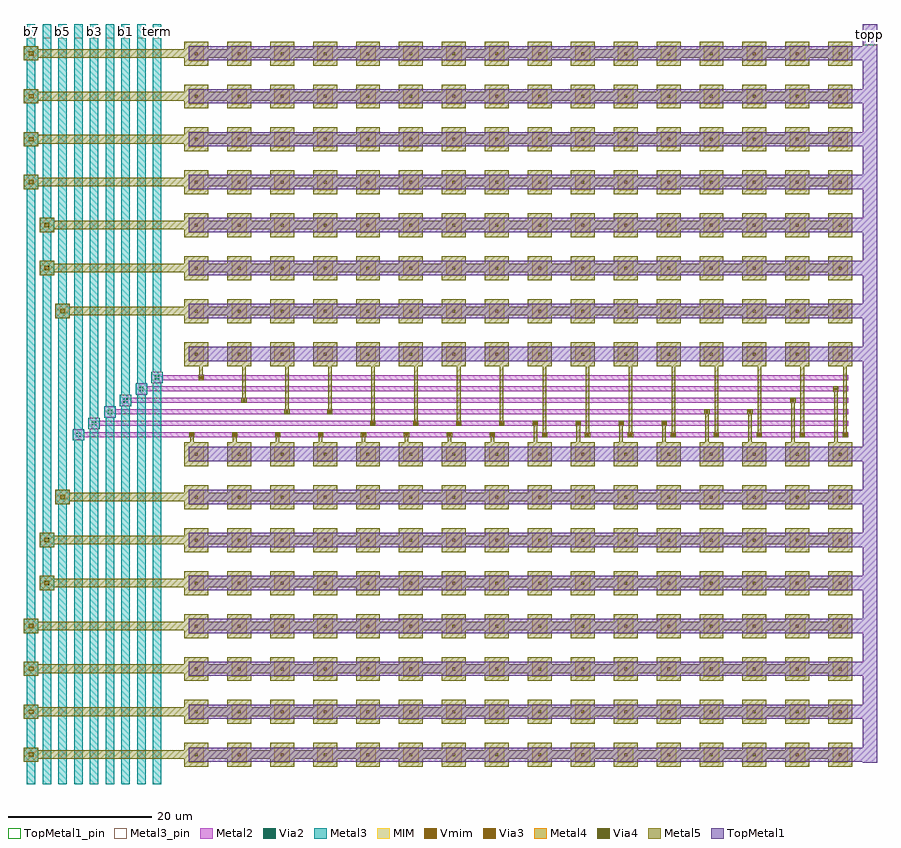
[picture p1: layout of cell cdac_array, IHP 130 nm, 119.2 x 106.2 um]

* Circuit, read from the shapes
.subckt cdac_array b0 b1 b2 b3 b4 b5 b6 b7 term topp
XC1 topp b7 cap_cmim w=2.14u l=2.14u m=128
XC2 topp b6 cap_cmim w=2.14u l=2.14u m=64
XC3 topp b5 cap_cmim w=2.14u l=2.14u m=32
XC4 topp b4 cap_cmim w=2.14u l=2.14u m=16
XC5 topp term cap_cmim w=2.14u l=2.14u
XC6 topp b1 cap_cmim w=2.14u l=2.14u m=2
XC7 topp b2 cap_cmim w=2.14u l=2.14u m=4
XC8 topp b3 cap_cmim w=2.14u l=2.14u m=8
XC9 topp b0 cap_cmim w=2.14u l=2.14u
.ends

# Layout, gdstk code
import gdstk
lib = gdstk.Library(unit=1e-6, precision=1e-09)
def R(c, l, rs):  # rectangles x0, y0, x1, y1
    for r in rs: c.add(gdstk.rectangle(r[:2], r[2:], *l))
def A(c, l, x, y, w, h, nx, ny, dx, dy):  # array of equal rectangles
    R(c, l, [(x+i*dx, y+j*dy, x+i*dx+w, y+j*dy+h) for i in range(nx) for j in range(ny)])
Metal2 = (10, 0)
Via2 = (29, 0)
Metal3 = (30, 0)
Metal3_pin = (30, 2)
MIM = (36, 0)
Via3 = (49, 0)
Metal4 = (50, 0)
Via4 = (66, 0)
Metal5 = (67, 0)
TopMetal1 = (126, 0)
TopMetal1_pin = (126, 2)
Vmim = (129, 0)

cmim = lib.new_cell('cmim')
R(cmim, MIM, [(0,0,2.14,2.14)])
R(cmim, Metal5, [(-0.6,-0.6,2.74,2.74)])
R(cmim, TopMetal1, [(0.44,0.44,1.7,1.7)])
R(cmim, Vmim, [(0.86,0.86,1.28,1.28)])
cmim.add(gdstk.Label('c=7.28f', (1.07,1.07), layer=63, texttype=0))
cmim.add(gdstk.Label('cmim', (1.07,1.07), layer=63, texttype=0))

via_stack_1 = lib.new_cell('via_stack$1')
R(via_stack_1, Metal2, [(-0.145,-0.1,0.145,0.1)])
R(via_stack_1, Via2, [(-0.095,-0.095,0.095,0.095)])
R(via_stack_1, Metal3, [(-0.2,-0.2,0.2,0.2), (-0.145,-0.1,0.145,0.1)])
R(via_stack_1, Via3, [(-0.095,-0.095,0.095,0.095)])
R(via_stack_1, Metal4, [(-0.2,-0.2,0.2,0.2), (-0.145,-0.1,0.145,0.1)])
R(via_stack_1, Via4, [(-0.095,-0.095,0.095,0.095)])
R(via_stack_1, Metal5, [(-0.145,-0.1,0.145,0.1)])

via_stack = lib.new_cell('via_stack')
R(via_stack, Metal3, [(-0.35,-0.305,0.35,0.305)])
R(via_stack, Via3, [(-0.3,-0.3,-0.11,-0.11), (0.11,-0.3,0.3,-0.11), (-0.3,0.11,-0.11,0.3), (0.11,0.11,0.3,0.3)])
R(via_stack, Metal4, [(-0.35,-0.305,0.35,0.305)])
R(via_stack, Via4, [(-0.3,-0.3,-0.11,-0.11), (0.11,-0.3,0.3,-0.11), (-0.3,0.11,-0.11,0.3), (0.11,0.11,0.3,0.3)])
R(via_stack, Metal5, [(-0.35,-0.305,0.35,0.305)])

via_stack_2 = lib.new_cell('via_stack$2')
R(via_stack_2, Metal2, [(-0.35,-0.305,0.35,0.305)])
R(via_stack_2, Via2, [(-0.3,-0.3,-0.11,-0.11), (0.11,-0.3,0.3,-0.11), (-0.3,0.11,-0.11,0.3), (0.11,0.11,0.3,0.3)])
R(via_stack_2, Metal3, [(-0.35,-0.305,0.35,0.305)])

cdac_array = lib.new_cell('cdac_array')
A(cdac_array, Metal2, 0.09, 45.44, 0.72, 0.72, 8, 1, 6, 0)
A(cdac_array, Metal2, 49.39, 45.44, 0.72, 0.72, 8, 1, 6, 0)
A(cdac_array, Metal2, 25.39, 47.04, 0.72, 0.72, 4, 1, 6, 0)
A(cdac_array, Metal2, 48.09, 47.04, 0.72, 0.72, 4, 1, 6, 0)
R(cdac_array, Metal2, [(-16.2,45,-14.6,46.6), (-16,45.45,92.2,46.15), (-14,46.6,-12.4,48.2), (-13.8,47.05,92.2,47.75), (-11.8,48.2,-10.2,49.8), (13.39,48.64,14.11,49.36), (19.39,48.64,20.11,49.36), (72.09,48.64,72.81,49.36), (78.09,48.64,78.81,49.36), (-11.6,48.65,92.2,49.35), (-9.6,49.8,-8,51.4), (7.39,50.24,8.11,50.96), (84.09,50.24,84.81,50.96), (-9.4,50.25,92.2,50.95), (-7.4,51.4,-5.8,53), (90.09,51.84,90.81,52.56), (-7.2,51.85,92.2,52.55), (-5.2,53,-3.6,54.6), (1.39,53.44,2.11,54.16), (-5,53.45,92.2,54.15)])
A(cdac_array, Metal3, -22.6, -3, 1.2, 106.2, 9, 1, 2.2, 0)
A(cdac_array, Metal3, -23, 0.1, 2, 2, 1, 4, 0, 6)
A(cdac_array, Metal3, -23, 80.1, 2, 2, 1, 4, 0, 6)
R(cdac_array, Metal3, [(-20.8,24.1,-18.8,26.1), (-20.8,30.1,-18.8,32.1), (-18.6,36.1,-16.6,38.1), (-16.2,45,-14.6,46.6), (-14,46.6,-12.4,48.2), (-11.8,48.2,-10.2,49.8), (-9.6,49.8,-8,51.4), (-7.4,51.4,-5.8,53), (-5.2,53,-3.6,54.6), (-18.6,62.1,-16.6,64.1), (-20.8,68.1,-18.8,70.1), (-20.8,74.1,-18.8,76.1)])
A(cdac_array, Metal3_pin, -22.6, 101.2, 1.2, 2, 9, 1, 2.2, 0)
A(cdac_array, Metal5, -23, 0.1, 2, 2, 1, 4, 0, 6)
A(cdac_array, Metal5, -22.6, 0.5, 114.8, 1.2, 1, 4, 0, 6)
A(cdac_array, Metal5, 0.2, 44.2, 0.5, 1.9, 8, 1, 6, 0)
A(cdac_array, Metal5, 48.2, 44.2, 0.5, 3.5, 4, 1, 6, 0)
A(cdac_array, Metal5, 0.09, 45.44, 0.72, 0.72, 8, 1, 6, 0)
A(cdac_array, Metal5, 49.39, 45.44, 0.72, 0.72, 8, 1, 6, 0)
A(cdac_array, Metal5, 49.5, 45.5, 0.5, 10.5, 8, 1, 6, 0)
A(cdac_array, Metal5, 25.39, 47.04, 0.72, 0.72, 4, 1, 6, 0)
A(cdac_array, Metal5, 48.09, 47.04, 0.72, 0.72, 4, 1, 6, 0)
A(cdac_array, Metal5, 25.5, 47.1, 0.5, 8.9, 4, 1, 6, 0)
A(cdac_array, Metal5, -23, 80.1, 2, 2, 1, 4, 0, 6)
A(cdac_array, Metal5, -22.6, 80.5, 114.8, 1.2, 1, 4, 0, 6)
R(cdac_array, Metal5, [(-20.8,24.1,-18.8,26.1), (-20.4,24.5,92.2,25.7), (-20.8,30.1,-18.8,32.1), (-20.4,30.5,92.2,31.7), (-18.6,36.1,-16.6,38.1), (-18.2,36.5,92.2,37.7), (72.2,44.2,72.7,49.3), (78.2,44.2,78.7,49.3), (84.2,44.2,84.7,50.9), (90.2,44.2,90.7,52.5), (13.39,48.64,14.11,49.36), (19.39,48.64,20.11,49.36), (72.09,48.64,72.81,49.36), (78.09,48.64,78.81,49.36), (13.5,48.7,14,56), (19.5,48.7,20,56), (7.39,50.24,8.11,50.96), (84.09,50.24,84.81,50.96), (7.5,50.3,8,56), (90.09,51.84,90.81,52.56), (1.39,53.44,2.11,54.16), (1.5,53.5,2,56), (-18.6,62.1,-16.6,64.1), (-18.2,62.5,92.2,63.7), (-20.8,68.1,-18.8,70.1), (-20.4,68.5,92.2,69.7), (-20.8,74.1,-18.8,76.1), (-20.4,74.5,92.2,75.7)])
A(cdac_array, TopMetal1, 0, 0.1, 96.2, 2, 1, 8, 0, 6)
A(cdac_array, TopMetal1, 0, 56.1, 96.2, 2, 1, 8, 0, 6)
R(cdac_array, TopMetal1, [(94.2,0,96.2,103.2)])
R(cdac_array, TopMetal1_pin, [(94.2,100.2,96.2,103.2)])
cdac_array.add(gdstk.Reference(cmim, (36,56)))
cdac_array.add(gdstk.Reference(cmim, (42,56)))
cdac_array.add(gdstk.Reference(cmim, (48,56)))
cdac_array.add(gdstk.Reference(cmim, (54,56)))
cdac_array.add(gdstk.Reference(cmim, (60,56)))
cdac_array.add(gdstk.Reference(cmim, (66,56)))
cdac_array.add(gdstk.Reference(cmim, (72,56)))
cdac_array.add(gdstk.Reference(cmim, (78,56)))
cdac_array.add(gdstk.Reference(cmim, (84,56)))
cdac_array.add(gdstk.Reference(cmim, (90,56)))
cdac_array.add(gdstk.Reference(cmim, (36,62)))
cdac_array.add(gdstk.Reference(cmim, (42,62)))
cdac_array.add(gdstk.Reference(cmim, (48,62)))
cdac_array.add(gdstk.Reference(cmim, (54,62)))
cdac_array.add(gdstk.Reference(cmim, (60,62)))
cdac_array.add(gdstk.Reference(cmim, (66,62)))
cdac_array.add(gdstk.Reference(cmim, (72,62)))
cdac_array.add(gdstk.Reference(cmim, (78,62)))
cdac_array.add(gdstk.Reference(cmim, (84,62)))
cdac_array.add(gdstk.Reference(cmim, (90,62)))
cdac_array.add(gdstk.Reference(cmim, (36,68)))
cdac_array.add(gdstk.Reference(cmim, (42,68)))
cdac_array.add(gdstk.Reference(cmim, (48,68)))
cdac_array.add(gdstk.Reference(cmim, (54,68)))
cdac_array.add(gdstk.Reference(cmim, (60,68)))
cdac_array.add(gdstk.Reference(cmim, (66,68)))
cdac_array.add(gdstk.Reference(cmim, (72,68)))
cdac_array.add(gdstk.Reference(cmim, (78,68)))
cdac_array.add(gdstk.Reference(cmim, (84,68)))
cdac_array.add(gdstk.Reference(cmim, (90,68)))
cdac_array.add(gdstk.Reference(cmim, (36,74)))
cdac_array.add(gdstk.Reference(cmim, (42,74)))
cdac_array.add(gdstk.Reference(cmim, (48,74)))
cdac_array.add(gdstk.Reference(cmim, (54,74)))
cdac_array.add(gdstk.Reference(cmim, (60,74)))
cdac_array.add(gdstk.Reference(cmim, (66,74)))
cdac_array.add(gdstk.Reference(cmim, (72,74)))
cdac_array.add(gdstk.Reference(cmim, (78,74)))
cdac_array.add(gdstk.Reference(cmim, (84,74)))
cdac_array.add(gdstk.Reference(cmim, (90,74)))
cdac_array.add(gdstk.Reference(cmim, (36,80)))
cdac_array.add(gdstk.Reference(cmim, (42,80)))
cdac_array.add(gdstk.Reference(cmim, (48,80)))
cdac_array.add(gdstk.Reference(cmim, (54,80)))
cdac_array.add(gdstk.Reference(cmim, (60,80)))
cdac_array.add(gdstk.Reference(cmim, (66,80)))
cdac_array.add(gdstk.Reference(cmim, (72,80)))
cdac_array.add(gdstk.Reference(cmim, (78,80)))
cdac_array.add(gdstk.Reference(cmim, (84,80)))
cdac_array.add(gdstk.Reference(cmim, (90,80)))
cdac_array.add(gdstk.Reference(cmim, (36,86)))
cdac_array.add(gdstk.Reference(cmim, (42,86)))
cdac_array.add(gdstk.Reference(cmim, (48,86)))
cdac_array.add(gdstk.Reference(cmim, (54,86)))
cdac_array.add(gdstk.Reference(cmim, (60,86)))
cdac_array.add(gdstk.Reference(cmim, (66,86)))
cdac_array.add(gdstk.Reference(cmim, (72,86)))
cdac_array.add(gdstk.Reference(cmim, (78,86)))
cdac_array.add(gdstk.Reference(cmim, (84,86)))
cdac_array.add(gdstk.Reference(cmim, (90,86)))
cdac_array.add(gdstk.Reference(cmim, (36,92)))
cdac_array.add(gdstk.Reference(cmim, (42,92)))
cdac_array.add(gdstk.Reference(cmim, (48,92)))
cdac_array.add(gdstk.Reference(cmim, (54,92)))
cdac_array.add(gdstk.Reference(cmim, (60,92)))
cdac_array.add(gdstk.Reference(cmim, (66,92)))
cdac_array.add(gdstk.Reference(cmim, (72,92)))
cdac_array.add(gdstk.Reference(cmim, (78,92)))
cdac_array.add(gdstk.Reference(cmim, (84,92)))
cdac_array.add(gdstk.Reference(cmim, (90,92)))
cdac_array.add(gdstk.Reference(cmim, (36,98)))
cdac_array.add(gdstk.Reference(cmim, (42,98)))
cdac_array.add(gdstk.Reference(cmim, (48,98)))
cdac_array.add(gdstk.Reference(cmim, (54,98)))
cdac_array.add(gdstk.Reference(cmim, (60,98)))
cdac_array.add(gdstk.Reference(cmim, (66,98)))
cdac_array.add(gdstk.Reference(cmim, (72,98)))
cdac_array.add(gdstk.Reference(cmim, (78,98)))
cdac_array.add(gdstk.Reference(cmim, (84,98)))
cdac_array.add(gdstk.Reference(cmim, (90,98)))
cdac_array.add(gdstk.Reference(via_stack_1, (84.45,50.6)))
cdac_array.add(gdstk.Reference(via_stack_1, (90.45,52.2)))
cdac_array.add(gdstk.Reference(cmim, (12,86)))
cdac_array.add(gdstk.Reference(cmim, (18,86)))
cdac_array.add(gdstk.Reference(cmim, (24,86)))
cdac_array.add(gdstk.Reference(cmim, (30,86)))
cdac_array.add(gdstk.Reference(cmim, (12,74)))
cdac_array.add(gdstk.Reference(cmim, (18,74)))
cdac_array.add(gdstk.Reference(cmim, (24,74)))
cdac_array.add(gdstk.Reference(cmim, (30,74)))
cdac_array.add(gdstk.Reference(cmim, (12,62)))
cdac_array.add(gdstk.Reference(cmim, (18,62)))
cdac_array.add(gdstk.Reference(cmim, (0,68)))
cdac_array.add(gdstk.Reference(cmim, (6,68)))
cdac_array.add(gdstk.Reference(cmim, (12,68)))
cdac_array.add(gdstk.Reference(cmim, (18,68)))
cdac_array.add(gdstk.Reference(cmim, (0,92)))
cdac_array.add(gdstk.Reference(cmim, (6,92)))
cdac_array.add(gdstk.Reference(cmim, (12,92)))
cdac_array.add(gdstk.Reference(cmim, (18,92)))
cdac_array.add(gdstk.Reference(cmim, (24,92)))
cdac_array.add(gdstk.Reference(cmim, (30,92)))
cdac_array.add(gdstk.Reference(cmim, (24,68)))
cdac_array.add(gdstk.Reference(cmim, (30,68)))
cdac_array.add(gdstk.Reference(cmim, (24,62)))
cdac_array.add(gdstk.Reference(cmim, (30,62)))
cdac_array.add(gdstk.Reference(cmim, (0,80)))
cdac_array.add(gdstk.Reference(cmim, (6,80)))
cdac_array.add(gdstk.Reference(cmim, (12,80)))
cdac_array.add(gdstk.Reference(cmim, (18,80)))
cdac_array.add(gdstk.Reference(cmim, (24,80)))
cdac_array.add(gdstk.Reference(cmim, (30,80)))
cdac_array.add(gdstk.Reference(cmim, (0,98)))
cdac_array.add(gdstk.Reference(cmim, (6,98)))
cdac_array.add(gdstk.Reference(cmim, (12,98)))
cdac_array.add(gdstk.Reference(cmim, (18,98)))
cdac_array.add(gdstk.Reference(cmim, (24,98)))
cdac_array.add(gdstk.Reference(cmim, (30,98)))
cdac_array.add(gdstk.Reference(cmim, (24,56)))
cdac_array.add(gdstk.Reference(cmim, (30,56)))
cdac_array.add(gdstk.Reference(cmim, (0,56)))
cdac_array.add(gdstk.Reference(cmim, (6,56)))
cdac_array.add(gdstk.Reference(cmim, (12,56)))
cdac_array.add(gdstk.Reference(cmim, (18,56)))
cdac_array.add(gdstk.Reference(cmim, (0,62)))
cdac_array.add(gdstk.Reference(cmim, (6,62)))
cdac_array.add(gdstk.Reference(cmim, (0,74)))
cdac_array.add(gdstk.Reference(cmim, (6,74)))
cdac_array.add(gdstk.Reference(via_stack, (-17.6,63.1)))
cdac_array.add(gdstk.Reference(via_stack, (-19.8,69.1)))
cdac_array.add(gdstk.Reference(via_stack, (-19.8,75.1)))
cdac_array.add(gdstk.Reference(via_stack, (-22,81.1)))
cdac_array.add(gdstk.Reference(via_stack, (-22,87.1)))
cdac_array.add(gdstk.Reference(via_stack, (-22,93.1)))
cdac_array.add(gdstk.Reference(via_stack, (-22,99.1)))
cdac_array.add(gdstk.Reference(cmim, (0,86)))
cdac_array.add(gdstk.Reference(cmim, (6,86)))
cdac_array.add(gdstk.Reference(via_stack_1, (1.75,53.8)))
cdac_array.add(gdstk.Reference(via_stack_1, (7.75,50.6)))
cdac_array.add(gdstk.Reference(via_stack_2, (-8.8,50.6)))
cdac_array.add(gdstk.Reference(via_stack_2, (-6.6,52.2)))
cdac_array.add(gdstk.Reference(via_stack_2, (-4.4,53.8)))
cdac_array.add(gdstk.Reference(cmim, (24,42)))
cdac_array.add(gdstk.Reference(cmim, (30,42)))
cdac_array.add(gdstk.Reference(cmim, (0,0)))
cdac_array.add(gdstk.Reference(cmim, (6,0)))
cdac_array.add(gdstk.Reference(cmim, (12,0)))
cdac_array.add(gdstk.Reference(cmim, (18,0)))
cdac_array.add(gdstk.Reference(cmim, (24,0)))
cdac_array.add(gdstk.Reference(cmim, (30,0)))
cdac_array.add(gdstk.Reference(cmim, (0,6)))
cdac_array.add(gdstk.Reference(cmim, (6,6)))
cdac_array.add(gdstk.Reference(cmim, (12,6)))
cdac_array.add(gdstk.Reference(cmim, (18,6)))
cdac_array.add(gdstk.Reference(cmim, (24,6)))
cdac_array.add(gdstk.Reference(cmim, (30,6)))
cdac_array.add(gdstk.Reference(cmim, (0,12)))
cdac_array.add(gdstk.Reference(cmim, (6,12)))
cdac_array.add(gdstk.Reference(cmim, (12,12)))
cdac_array.add(gdstk.Reference(cmim, (18,12)))
cdac_array.add(gdstk.Reference(cmim, (24,12)))
cdac_array.add(gdstk.Reference(cmim, (30,12)))
cdac_array.add(gdstk.Reference(cmim, (0,18)))
cdac_array.add(gdstk.Reference(cmim, (6,18)))
cdac_array.add(gdstk.Reference(cmim, (12,18)))
cdac_array.add(gdstk.Reference(cmim, (18,18)))
cdac_array.add(gdstk.Reference(cmim, (24,18)))
cdac_array.add(gdstk.Reference(cmim, (30,18)))
cdac_array.add(gdstk.Reference(cmim, (0,24)))
cdac_array.add(gdstk.Reference(cmim, (6,24)))
cdac_array.add(gdstk.Reference(cmim, (12,24)))
cdac_array.add(gdstk.Reference(cmim, (18,24)))
cdac_array.add(gdstk.Reference(cmim, (24,24)))
cdac_array.add(gdstk.Reference(cmim, (30,24)))
cdac_array.add(gdstk.Reference(cmim, (0,30)))
cdac_array.add(gdstk.Reference(cmim, (6,30)))
cdac_array.add(gdstk.Reference(via_stack, (-22,1.1)))
cdac_array.add(gdstk.Reference(via_stack, (-22,7.1)))
cdac_array.add(gdstk.Reference(via_stack, (-22,13.1)))
cdac_array.add(gdstk.Reference(via_stack, (-22,19.1)))
cdac_array.add(gdstk.Reference(via_stack, (-19.8,25.1)))
cdac_array.add(gdstk.Reference(via_stack, (-19.8,31.1)))
cdac_array.add(gdstk.Reference(via_stack, (-17.6,37.1)))
cdac_array.add(gdstk.Reference(cmim, (12,30)))
cdac_array.add(gdstk.Reference(cmim, (18,30)))
cdac_array.add(gdstk.Reference(cmim, (24,30)))
cdac_array.add(gdstk.Reference(cmim, (30,30)))
cdac_array.add(gdstk.Reference(cmim, (0,36)))
cdac_array.add(gdstk.Reference(cmim, (6,36)))
cdac_array.add(gdstk.Reference(cmim, (12,36)))
cdac_array.add(gdstk.Reference(via_stack_1, (0.45,45.8)))
cdac_array.add(gdstk.Reference(via_stack_1, (6.45,45.8)))
cdac_array.add(gdstk.Reference(via_stack_1, (12.45,45.8)))
cdac_array.add(gdstk.Reference(via_stack_1, (18.45,45.8)))
cdac_array.add(gdstk.Reference(via_stack_1, (24.45,45.8)))
cdac_array.add(gdstk.Reference(via_stack_1, (30.45,45.8)))
cdac_array.add(gdstk.Reference(cmim, (18,36)))
cdac_array.add(gdstk.Reference(cmim, (24,36)))
cdac_array.add(gdstk.Reference(cmim, (30,36)))
cdac_array.add(gdstk.Reference(cmim, (0,42)))
cdac_array.add(gdstk.Reference(via_stack_1, (13.75,49)))
cdac_array.add(gdstk.Reference(via_stack_1, (19.75,49)))
cdac_array.add(gdstk.Reference(via_stack_1, (25.75,47.4)))
cdac_array.add(gdstk.Reference(via_stack_1, (31.75,47.4)))
cdac_array.add(gdstk.Reference(via_stack_2, (-15.4,45.8)))
cdac_array.add(gdstk.Reference(via_stack_2, (-13.2,47.4)))
cdac_array.add(gdstk.Reference(via_stack_2, (-11,49)))
cdac_array.add(gdstk.Reference(cmim, (6,42)))
cdac_array.add(gdstk.Reference(cmim, (12,42)))
cdac_array.add(gdstk.Reference(cmim, (18,42)))
cdac_array.add(gdstk.Reference(cmim, (60,0)))
cdac_array.add(gdstk.Reference(cmim, (66,0)))
cdac_array.add(gdstk.Reference(cmim, (36,6)))
cdac_array.add(gdstk.Reference(cmim, (42,6)))
cdac_array.add(gdstk.Reference(cmim, (36,18)))
cdac_array.add(gdstk.Reference(cmim, (42,18)))
cdac_array.add(gdstk.Reference(cmim, (48,18)))
cdac_array.add(gdstk.Reference(cmim, (54,18)))
cdac_array.add(gdstk.Reference(cmim, (60,18)))
cdac_array.add(gdstk.Reference(cmim, (66,18)))
cdac_array.add(gdstk.Reference(cmim, (72,18)))
cdac_array.add(gdstk.Reference(cmim, (78,18)))
cdac_array.add(gdstk.Reference(cmim, (84,18)))
cdac_array.add(gdstk.Reference(cmim, (90,18)))
cdac_array.add(gdstk.Reference(cmim, (48,6)))
cdac_array.add(gdstk.Reference(cmim, (54,6)))
cdac_array.add(gdstk.Reference(cmim, (60,6)))
cdac_array.add(gdstk.Reference(cmim, (66,6)))
cdac_array.add(gdstk.Reference(cmim, (72,6)))
cdac_array.add(gdstk.Reference(cmim, (78,6)))
cdac_array.add(gdstk.Reference(cmim, (36,24)))
cdac_array.add(gdstk.Reference(cmim, (42,24)))
cdac_array.add(gdstk.Reference(cmim, (48,24)))
cdac_array.add(gdstk.Reference(cmim, (54,24)))
cdac_array.add(gdstk.Reference(cmim, (60,24)))
cdac_array.add(gdstk.Reference(cmim, (66,24)))
cdac_array.add(gdstk.Reference(cmim, (72,24)))
cdac_array.add(gdstk.Reference(cmim, (78,24)))
cdac_array.add(gdstk.Reference(cmim, (84,24)))
cdac_array.add(gdstk.Reference(cmim, (90,24)))
cdac_array.add(gdstk.Reference(cmim, (84,6)))
cdac_array.add(gdstk.Reference(cmim, (90,6)))
cdac_array.add(gdstk.Reference(cmim, (72,0)))
cdac_array.add(gdstk.Reference(cmim, (78,0)))
cdac_array.add(gdstk.Reference(cmim, (84,0)))
cdac_array.add(gdstk.Reference(cmim, (90,0)))
cdac_array.add(gdstk.Reference(cmim, (36,30)))
cdac_array.add(gdstk.Reference(cmim, (42,30)))
cdac_array.add(gdstk.Reference(cmim, (48,30)))
cdac_array.add(gdstk.Reference(cmim, (54,30)))
cdac_array.add(gdstk.Reference(cmim, (60,30)))
cdac_array.add(gdstk.Reference(cmim, (66,30)))
cdac_array.add(gdstk.Reference(cmim, (72,30)))
cdac_array.add(gdstk.Reference(cmim, (78,30)))
cdac_array.add(gdstk.Reference(cmim, (84,30)))
cdac_array.add(gdstk.Reference(cmim, (90,30)))
cdac_array.add(gdstk.Reference(cmim, (36,0)))
cdac_array.add(gdstk.Reference(cmim, (42,0)))
cdac_array.add(gdstk.Reference(cmim, (36,12)))
cdac_array.add(gdstk.Reference(cmim, (42,12)))
cdac_array.add(gdstk.Reference(cmim, (48,12)))
cdac_array.add(gdstk.Reference(cmim, (54,12)))
cdac_array.add(gdstk.Reference(cmim, (36,36)))
cdac_array.add(gdstk.Reference(cmim, (42,36)))
cdac_array.add(gdstk.Reference(cmim, (48,36)))
cdac_array.add(gdstk.Reference(cmim, (54,36)))
cdac_array.add(gdstk.Reference(cmim, (60,36)))
cdac_array.add(gdstk.Reference(cmim, (66,36)))
cdac_array.add(gdstk.Reference(cmim, (72,36)))
cdac_array.add(gdstk.Reference(cmim, (78,36)))
cdac_array.add(gdstk.Reference(cmim, (84,36)))
cdac_array.add(gdstk.Reference(cmim, (90,36)))
cdac_array.add(gdstk.Reference(cmim, (60,12)))
cdac_array.add(gdstk.Reference(cmim, (66,12)))
cdac_array.add(gdstk.Reference(cmim, (72,12)))
cdac_array.add(gdstk.Reference(cmim, (78,12)))
cdac_array.add(gdstk.Reference(via_stack_1, (36.45,45.8)))
cdac_array.add(gdstk.Reference(via_stack_1, (42.45,45.8)))
cdac_array.add(gdstk.Reference(via_stack_1, (48.45,47.4)))
cdac_array.add(gdstk.Reference(via_stack_1, (54.45,47.4)))
cdac_array.add(gdstk.Reference(via_stack_1, (60.45,47.4)))
cdac_array.add(gdstk.Reference(via_stack_1, (66.45,47.4)))
cdac_array.add(gdstk.Reference(via_stack_1, (72.45,49)))
cdac_array.add(gdstk.Reference(via_stack_1, (78.45,49)))
cdac_array.add(gdstk.Reference(cmim, (84,12)))
cdac_array.add(gdstk.Reference(cmim, (90,12)))
cdac_array.add(gdstk.Reference(cmim, (36,42)))
cdac_array.add(gdstk.Reference(cmim, (42,42)))
cdac_array.add(gdstk.Reference(cmim, (48,42)))
cdac_array.add(gdstk.Reference(cmim, (54,42)))
cdac_array.add(gdstk.Reference(cmim, (60,42)))
cdac_array.add(gdstk.Reference(cmim, (66,42)))
cdac_array.add(gdstk.Reference(via_stack_1, (37.75,47.4)))
cdac_array.add(gdstk.Reference(via_stack_1, (43.75,47.4)))
cdac_array.add(gdstk.Reference(via_stack_1, (49.75,45.8)))
cdac_array.add(gdstk.Reference(via_stack_1, (55.75,45.8)))
cdac_array.add(gdstk.Reference(via_stack_1, (61.75,45.8)))
cdac_array.add(gdstk.Reference(via_stack_1, (67.75,45.8)))
cdac_array.add(gdstk.Reference(via_stack_1, (73.75,45.8)))
cdac_array.add(gdstk.Reference(via_stack_1, (79.75,45.8)))
cdac_array.add(gdstk.Reference(via_stack_1, (85.75,45.8)))
cdac_array.add(gdstk.Reference(via_stack_1, (91.75,45.8)))
cdac_array.add(gdstk.Reference(cmim, (72,42)))
cdac_array.add(gdstk.Reference(cmim, (78,42)))
cdac_array.add(gdstk.Reference(cmim, (84,42)))
cdac_array.add(gdstk.Reference(cmim, (90,42)))
cdac_array.add(gdstk.Reference(cmim, (48,0)))
cdac_array.add(gdstk.Reference(cmim, (54,0)))
cdac_array.add(gdstk.Label('b7', (-22,102.2), layer=30, texttype=25))
cdac_array.add(gdstk.Label('b6', (-19.8,102.2), layer=30, texttype=25))
cdac_array.add(gdstk.Label('b5', (-17.6,102.2), layer=30, texttype=25))
cdac_array.add(gdstk.Label('b4', (-15.4,102.2), layer=30, texttype=25))
cdac_array.add(gdstk.Label('b3', (-13.2,102.2), layer=30, texttype=25))
cdac_array.add(gdstk.Label('b2', (-11,102.2), layer=30, texttype=25))
cdac_array.add(gdstk.Label('b1', (-8.8,102.2), layer=30, texttype=25))
cdac_array.add(gdstk.Label('b0', (-6.6,102.2), layer=30, texttype=25))
cdac_array.add(gdstk.Label('term', (-4.4,102.2), layer=30, texttype=25))
cdac_array.add(gdstk.Label('topp', (95.2,101.7), layer=126, texttype=25))

lib.write_gds('cdac_array.gds')
